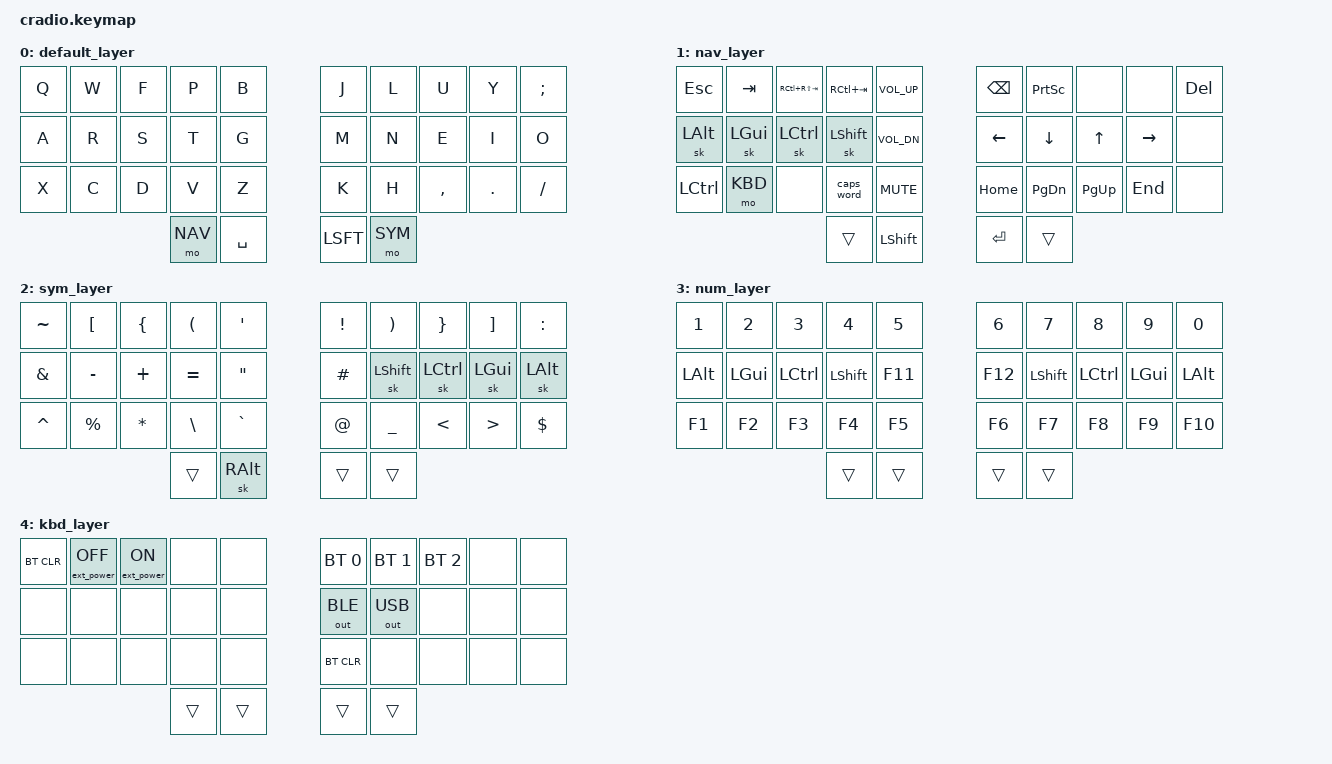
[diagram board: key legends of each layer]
/*
 * Copyright (c) 2020 The ZMK Contributors
 *
 * SPDX-License-Identifier: MIT
 */

#include <behaviors.dtsi>
#include <dt-bindings/zmk/keys.h>
#include <dt-bindings/zmk/bt.h>
#include <dt-bindings/zmk/ext_power.h>
#include <dt-bindings/zmk/outputs.h>

#define DEF 0
#define NAV 1
#define SYM 2
#define NUM 3
#define KBD 4

&mt {
  //  flavor = "tap-preferred";
   // tapping_term_ms = <200>;
};

/ { 

    conditional_layers {
        compatible = "zmk,conditional-layers";
        tri_layer {
            if-layers = <NAV SYM>;
            then-layer = <NUM>;
        };
    };

    keymap {
        compatible = "zmk,keymap";
                
        default_layer {
            bindings = <
            &kp Q  &kp W  &kp F  &kp P    &kp B      &kp J     &kp L    &kp U     &kp Y    &kp SEMI
            &kp A  &kp R  &kp S  &kp T    &kp G      &kp M     &kp N    &kp E     &kp I    &kp O
            &kp X  &kp C  &kp D  &kp V    &kp Z      &kp K     &kp H    &kp CMMA  &kp DOT  &kp SLASH
                                 &mo NAV  &kp SPC    &kp LSFT  &mo SYM                    
            >;
        };

        nav_layer {
            bindings = <
            &kp ESC    &kp TAB   &kp RC(RS(TAB))  &kp RC(TAB)  &kp C_VOL_UP    &kp BSPC   &kp PSCRN  &none      &none      &kp DEL
            &sk LALT   &sk LGUI  &sk LCTRL        &sk LSHIFT   &kp C_VOL_DN    &kp LEFT   &kp DOWN   &kp UP     &kp RIGHT  &none
            &kp LCTRL  &mo KBD   &none            &caps_word   &kp C_MUTE      &kp HOME   &kp PG_DN  &kp PG_UP  &kp END    &none
                                                  &trans       &kp LSHIFT      &kp ENTER  &trans                          
            >;
        };
        
        sym_layer {
            bindings = <
            &kp TILDE   &kp LBKT   &kp LBRC  &kp LPAR   &kp SQT      &kp EXCL  &kp RPAR    &kp RBRC   &kp RBKT  &kp COLON
            &kp AMPS    &kp MINUS  &kp PLUS  &kp EQUAL  &kp DQT      &kp HASH  &sk LSHIFT  &sk LCTRL  &sk LGUI  &sk LALT
            &kp CARET   &kp PRCNT  &kp STAR  &kp BSLH   &kp GRAVE    &kp AT    &kp UNDER   &kp LT     &kp GT    &kp DLLR
                                             &trans     &sk RALT     &trans    &trans                         
            >;
        };    
        
        num_layer {
            bindings = <
            &kp N1    &kp N2    &kp N3     &kp N4      &kp N5     &kp N6   &kp N7      &kp N8     &kp N9    &kp N0
            &kp LALT  &kp LGUI  &kp LCTRL  &kp LSHIFT  &kp F11    &kp F12  &kp LSHIFT  &kp LCTRL  &kp LGUI  &kp LALT
            &kp F1    &kp F2    &kp F3     &kp F4      &kp F5     &kp F6   &kp F7      &kp F8     &kp F9    &kp F10
                                           &trans      &trans     &trans   &trans                         
            >;
        };    

        kbd_layer {
            bindings = <
            &bt BT_CLR  &ext_power EP_OFF  &ext_power EP_ON  &none   &none     &bt BT_SEL 0  &bt BT_SEL 1  &bt BT_SEL 2  &none  &none
            &none       &none              &none             &none   &none     &out OUT_BLE  &out OUT_USB  &none         &none  &none
            &none       &none              &none             &none   &none     &bt BT_CLR    &none         &none         &none  &none
                                                             &trans  &trans    &trans        &trans                            
            >;
        };    
        
    };
};
